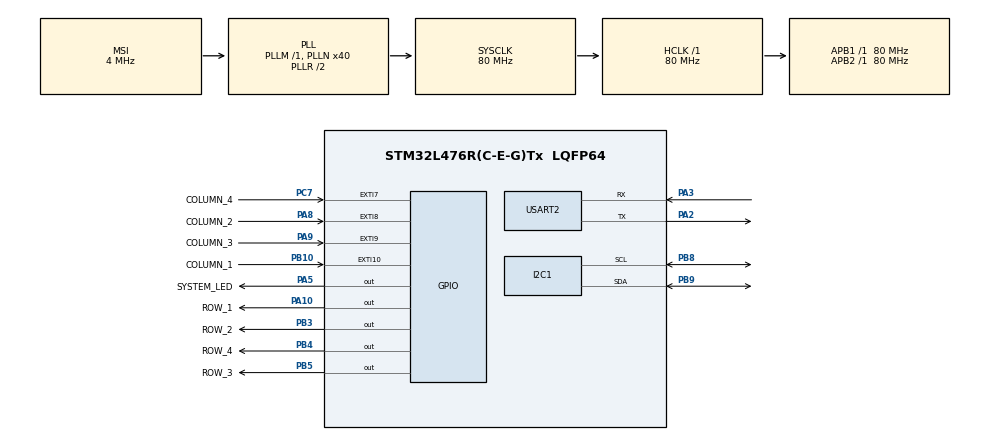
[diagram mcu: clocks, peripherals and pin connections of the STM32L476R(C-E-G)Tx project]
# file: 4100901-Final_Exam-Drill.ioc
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I2C1.Timing=0x10909CEC
Mcu.Family=STM32L4
Mcu.Name=STM32L476R(C-E-G)Tx
Mcu.Package=LQFP64
NVIC.EXTI15_10_IRQn=true\:0\:0\:false\:false\:true\:true\:true\:true
NVIC.EXTI9_5_IRQn=true\:0\:0\:false\:false\:true\:true\:true\:true
NVIC.PriorityGroup=NVIC_PRIORITYGROUP_4
NVIC.USART2_IRQn=true\:0\:0\:false\:false\:true\:true\:true\:true
PA10.GPIO_Label=ROW_1
PA10.PinState=GPIO_PIN_SET
PA10.Signal=GPIO_Output
PA2.Mode=Asynchronous
PA2.Signal=USART2_TX
PA3.Mode=Asynchronous
PA3.Signal=USART2_RX
PA5.GPIO_Label=SYSTEM_LED
PA5.Signal=GPIO_Output
PA8.GPIO_Label=COLUMN_2
PA8.GPIO_ModeDefaultEXTI=GPIO_MODE_IT_RISING
PA8.GPIO_PuPd=GPIO_PULLDOWN
PA8.Signal=GPXTI8
PA9.GPIO_Label=COLUMN_3
PA9.GPIO_ModeDefaultEXTI=GPIO_MODE_IT_RISING
PA9.GPIO_PuPd=GPIO_PULLDOWN
PA9.Signal=GPXTI9
PB10.GPIO_Label=COLUMN_1
PB10.GPIO_ModeDefaultEXTI=GPIO_MODE_IT_RISING
PB10.GPIO_PuPd=GPIO_PULLDOWN
PB10.Signal=GPXTI10
PB3\ (JTDO-TRACESWO).GPIO_Label=ROW_2
PB3\ (JTDO-TRACESWO).PinState=GPIO_PIN_SET
PB3\ (JTDO-TRACESWO).Signal=GPIO_Output
PB4\ (NJTRST).GPIO_Label=ROW_4
PB4\ (NJTRST).PinState=GPIO_PIN_SET
PB4\ (NJTRST).Signal=GPIO_Output
PB5.GPIO_Label=ROW_3
PB5.PinState=GPIO_PIN_SET
PB5.Signal=GPIO_Output
PB8.Mode=I2C
PB8.Signal=I2C1_SCL
PB9.Mode=I2C
PB9.Signal=I2C1_SDA
PC7.GPIO_Label=COLUMN_4
PC7.GPIO_ModeDefaultEXTI=GPIO_MODE_IT_RISING
PC7.GPIO_PuPd=GPIO_PULLDOWN
PC7.Signal=GPXTI7
ProjectManager.HeapSize=0x200
ProjectManager.StackSize=0x400
ProjectManager.TargetToolchain=STM32CubeIDE
RCC.AHBFreq_Value=80000000
RCC.APB1Freq_Value=80000000
RCC.APB1TimFreq_Value=80000000
RCC.APB2Freq_Value=80000000
RCC.APB2TimFreq_Value=80000000
RCC.CortexFreq_Value=80000000
RCC.HCLKFreq_Value=80000000
RCC.HSE_VALUE=8000000
RCC.HSI_VALUE=16000000
RCC.LSE_VALUE=32768
RCC.MSI_VALUE=4000000
RCC.PLLN=40
RCC.SYSCLKFreq_VALUE=80000000
RCC.SYSCLKSource=RCC_SYSCLKSOURCE_PLLCLK
RCC.VCOOutputFreq_Value=160000000
USART2.VirtualMode-Asynchronous=VM_ASYNC
board=custom

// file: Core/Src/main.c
/* USER CODE BEGIN Header */
/**
  ******************************************************************************
  * @file           : main.c
  * @brief          : Main program body
  ******************************************************************************
  * @attention
  *
  * Copyright (c) 2024 STMicroelectronics.
  * All rights reserved.
  *
  * This software is licensed under terms that can be found in the LICENSE file
  * in the root directory of this software component.
  * If no LICENSE file comes with this software, it is provided AS-IS.
  *
  ******************************************************************************
  */
/* USER CODE END Header */
#include "main.h"

/* USER CODE BEGIN Includes */
#include <string.h> // Asegúrate de incluir esta cabecera
#include "keypad.h" // Incluye el encabezado para keypad_scan

#include "flashing_light.h"

#include "ring_buffer.h"
#include"ssd1306.h"
#include"ssd1306_fonts.h"
#include <stdio.h>
/* USER CODE END Includes */

I2C_HandleTypeDef hi2c1;

UART_HandleTypeDef huart2;

/* USER CODE BEGIN PV */
uint8_t data_usart2;
uint8_t newline[] = "\r\n";

#define BUFFER_CAPACITY 10
uint8_t keyboard_buffer_memory[BUFFER_CAPACITY];
ring_buffer_t keyboard_ring_buffer;
uint8_t first_key_pressed = 0;
uint8_t cursor_x_position = 10;  // Control de la posición del cursor horizontal
uint8_t cursor_y_position = 30;  // Línea en la que aparecerán las teclas
uint8_t max_cursor_x_position = 80;

#define MAX_DISPLAY_CHARS 20 // Ajusta este valor según el tamaño de la pantalla y el tamaño del texto

// Buffer para almacenar la secuencia de teclas
static char display_buffer[MAX_DISPLAY_CHARS + 1]; // +1 para el terminador nulo
static uint8_t buffer_index = 0; // Asegúrate de que esta definición sea única

// Variables para la posición actual del cursor en la pantalla
static uint8_t cursor_x = 10;
static uint8_t cursor_y = 30;
uint16_t left_toggles=0;
uint8_t incorrect_password_toggles = 6;  // Parpadeos para contraseña incorrecta
uint32_t incorrect_password_interval = 125;  // 125 ms entre parpadeos
uint16_t left_toggles2=0;
uint8_t warning_toggles = 10;  // Parpadeos para otro caso
uint32_t warning_interval = 500;  // 500 ms entre parpadeos
uint8_t flashing_active = 0;  // Bandera para activar o desactivar el parpadeo
uint8_t flashing_active2=0;
uint8_t flashing_frequency=0;
uint8_t flashing_frequency2=0;

/* USER CODE END PV */

void SystemClock_Config(void);
static void MX_GPIO_Init(void);
static void MX_USART2_UART_Init(void);
static void MX_I2C1_Init(void);
void clear_line(uint8_t y_position);

/* USER CODE BEGIN 0 */
int _write(int file, char *ptr, int len)
{
  // to using printf
  HAL_UART_Transmit(&huart2, (uint8_t *)ptr, len, 10);
  return len;
}

void HAL_GPIO_EXTI_Callback(uint16_t GPIO_Pin)
{
    uint8_t key_pressed = keypad_scan(GPIO_Pin);

    if (key_pressed != 0xFF) {

        // Si se presiona '*', reinicia la secuencia
        if (key_pressed == '*') {
            ring_buffer_reset(&keyboard_ring_buffer);
            memset(display_buffer, 0, sizeof(display_buffer)); // Limpiar el buffer de pantalla
            buffer_index = 0; // Reiniciar el índice del buffer

            ssd1306_Fill(Black);
            ssd1306_SetCursor(10, 20);
            ssd1306_WriteString("Secuencia reiniciada", Font_6x8, White);
            ssd1306_UpdateScreen();
            HAL_UART_Transmit(&huart2, (uint8_t*)"Secuencia reiniciada\n\r", 22, 10);
            return;
        }

        // Escribir la tecla en el ring buffer
        if (key_pressed != '#') {
            ring_buffer_write(&keyboard_ring_buffer, key_pressed);

            // Agregar el carácter al buffer de pantalla
            if (buffer_index < MAX_DISPLAY_CHARS) {
                display_buffer[buffer_index++] = key_pressed;
                display_buffer[buffer_index] = '\0'; // Null-terminar el buffer

                // Limpiar la pantalla y mostrar el contenido del buffer
                ssd1306_Fill(Black);
                ssd1306_SetCursor(10, 30);
                ssd1306_WriteString(display_buffer, Font_6x8, White);
                ssd1306_UpdateScreen();

                // Transmitir el carácter a través de UART en tiempo real
                HAL_UART_Transmit(&huart2, &key_pressed, 1, 10);
            }
            return;
        }

        // Si se presiona '#', verifica la clave ingresada
        uint8_t byte2 = 0;
        uint8_t id_incorrect2 = 0;
        uint8_t my_id2[] = "1053871674";  // Clave correcta

        // Leer del buffer y comparar con la clave correcta
        for (uint8_t idx2 = 0; idx2 < sizeof(my_id2) - 1; idx2++) {
            if (ring_buffer_read(&keyboard_ring_buffer, &byte2) != 0) {
                if (byte2 != my_id2[idx2]) {
                    id_incorrect2 = 1;  // Marcar como incorrecto si no coincide
                    break;
                }
            } else {
                id_incorrect2 = 1;  // Si no hay suficientes caracteres en el buffer
                break;
            }
        }

        HAL_UART_Transmit(&huart2, (uint8_t*)"\n", 1, 10);

        if (!id_incorrect2) {
            // Contraseña correcta
            ssd1306_Fill(Black);
            ssd1306_SetCursor(10, 20);
            ssd1306_WriteString("Contrasena correcta", Font_6x8, White);
            ssd1306_UpdateScreen();
            HAL_UART_Transmit(&huart2, (uint8_t*)"Contrasena Correcta\n\r", 21, 10);
            HAL_UART_Transmit(&huart2, (uint8_t*)"Iniciando...\n\r", 14, 10);
            // Activar parpadeo con frecuencia de 4 Hz y 6 parpadeos
            left_toggles2 = 1;  // 6 parpadeos
            flashing_active2 = 1;  // Activar bandera
            flashing_frequency2 = 0xFF;

        } else {
            // Contraseña incorrecta
            ssd1306_Fill(Black);
            ssd1306_SetCursor(10, 20);
            ssd1306_WriteString("Incorrecta", Font_6x8, White);
            ssd1306_UpdateScreen();
            HAL_UART_Transmit(&huart2, (uint8_t*)"Incorrecto\n\r", 12, 10);

            // Activar parpadeo con frecuencia de 4 Hz y 6 parpadeos
            left_toggles = 6;  // 6 parpadeos
            flashing_active = 1;  // Activar bandera
            flashing_frequency = 125;
        }

        // Reinicia el buffer después de verificar
        ring_buffer_reset(&keyboard_ring_buffer);
        memset(display_buffer, 0, sizeof(display_buffer)); // Limpiar el buffer de pantalla
        buffer_index = 0; // Reiniciar el índice del buffer
        cursor_x = 10;  // Reinicia la posición horizontal del cursor
        cursor_y = 30;  // Reinicia la posición vertical del curso
    }
}

/* USER CODE END 0 */

int main(void)
{

  /* MCU Configuration--------------------------------------------------------*/

  /* Reset of all peripherals, Initializes the Flash interface and the Systick. */
  HAL_Init();

  /* Configure the system clock */
  SystemClock_Config();

  /* Initialize all configured peripherals */
  MX_GPIO_Init();
  MX_USART2_UART_Init();
  MX_I2C1_Init();
  /* USER CODE BEGIN 2 */
  ring_buffer_init(&keyboard_ring_buffer, keyboard_buffer_memory, BUFFER_CAPACITY);
  ssd1306_Init();
  ssd1306_Fill(Black);
  ssd1306_SetCursor(10,20);
  ssd1306_WriteString("iniciando",Font_6x8,White);
  ssd1306_UpdateScreen();

  /* USER CODE END 2 */

  /* Infinite loop */
  /* USER CODE BEGIN WHILE */
  printf("Starting...\r\n");
  while (1)
  {

    /* USER CODE END WHILE */
	  if (flashing_active) {

	      flashing_signal(GPIOA, GPIO_PIN_5, flashing_frequency, &left_toggles);

	      // Desactivar la bandera cuando el parpadeo termina
	      if (left_toggles == 0) {
	          flashing_active = 0;
	      }
	  }
	  if(flashing_active2){
		  flashing_signal(GPIOA, GPIO_PIN_5, flashing_frequency2, &left_toggles2);

	      // Desactivar la bandera cuando el parpadeo termina
	      if (left_toggles2 == 0) {
	          flashing_active2 = 0;
	      }

	  }

  }
}

void clear_line(uint8_t y_position) {
    // Colocar el cursor al inicio de la línea
    ssd1306_SetCursor(10, y_position);
    // Escribir una línea de espacios para "borrar" la línea
    ssd1306_WriteString("                ", Font_6x8, Black);  // Ajusta la cantidad de espacios según el tamaño de la pantalla
    ssd1306_UpdateScreen();
}

void SystemClock_Config(void)
{
  RCC_OscInitTypeDef RCC_OscInitStruct = {0};
  RCC_ClkInitTypeDef RCC_ClkInitStruct = {0};

  /** Configure the main internal regulator output voltage
  */
  if (HAL_PWREx_ControlVoltageScaling(PWR_REGULATOR_VOLTAGE_SCALE1) != HAL_OK)
  {
    Error_Handler();
  }

  /** Initializes the RCC Oscillators according to the specified parameters
  * in the RCC_OscInitTypeDef structure.
  */
  RCC_OscInitStruct.OscillatorType = RCC_OSCILLATORTYPE_MSI;
  RCC_OscInitStruct.MSIState = RCC_MSI_ON;
  RCC_OscInitStruct.MSICalibrationValue = 0;
  RCC_OscInitStruct.MSIClockRange = RCC_MSIRANGE_6;
  RCC_OscInitStruct.PLL.PLLState = RCC_PLL_ON;
  RCC_OscInitStruct.PLL.PLLSource = RCC_PLLSOURCE_MSI;
  RCC_OscInitStruct.PLL.PLLM = 1;
  RCC_OscInitStruct.PLL.PLLN = 40;
  RCC_OscInitStruct.PLL.PLLP = RCC_PLLP_DIV7;
  RCC_OscInitStruct.PLL.PLLQ = RCC_PLLQ_DIV2;
  RCC_OscInitStruct.PLL.PLLR = RCC_PLLR_DIV2;
  if (HAL_RCC_OscConfig(&RCC_OscInitStruct) != HAL_OK)
  {
    Error_Handler();
  }

  /** Initializes the CPU, AHB and APB buses clocks
  */
  RCC_ClkInitStruct.ClockType = RCC_CLOCKTYPE_HCLK|RCC_CLOCKTYPE_SYSCLK
                              |RCC_CLOCKTYPE_PCLK1|RCC_CLOCKTYPE_PCLK2;
  RCC_ClkInitStruct.SYSCLKSource = RCC_SYSCLKSOURCE_PLLCLK;
  RCC_ClkInitStruct.AHBCLKDivider = RCC_SYSCLK_DIV1;
  RCC_ClkInitStruct.APB1CLKDivider = RCC_HCLK_DIV1;
  RCC_ClkInitStruct.APB2CLKDivider = RCC_HCLK_DIV1;

  if (HAL_RCC_ClockConfig(&RCC_ClkInitStruct, FLASH_LATENCY_4) != HAL_OK)
  {
    Error_Handler();
  }
}

static void MX_I2C1_Init(void)
{

  hi2c1.Instance = I2C1;
  hi2c1.Init.Timing = 0x10909CEC;
  hi2c1.Init.OwnAddress1 = 0;
  hi2c1.Init.AddressingMode = I2C_ADDRESSINGMODE_7BIT;
  hi2c1.Init.DualAddressMode = I2C_DUALADDRESS_DISABLE;
  hi2c1.Init.OwnAddress2 = 0;
  hi2c1.Init.OwnAddress2Masks = I2C_OA2_NOMASK;
  hi2c1.Init.GeneralCallMode = I2C_GENERALCALL_DISABLE;
  hi2c1.Init.NoStretchMode = I2C_NOSTRETCH_DISABLE;
  if (HAL_I2C_Init(&hi2c1) != HAL_OK)
  {
    Error_Handler();
  }

  /** Configure Analogue filter
  */
  if (HAL_I2CEx_ConfigAnalogFilter(&hi2c1, I2C_ANALOGFILTER_ENABLE) != HAL_OK)
  {
    Error_Handler();
  }

  /** Configure Digital filter
  */
  if (HAL_I2CEx_ConfigDigitalFilter(&hi2c1, 0) != HAL_OK)
  {
    Error_Handler();
  }

}

static void MX_USART2_UART_Init(void)
{

  huart2.Instance = USART2;
  huart2.Init.BaudRate = 256000;
  huart2.Init.WordLength = UART_WORDLENGTH_8B;
  huart2.Init.StopBits = UART_STOPBITS_1;
  huart2.Init.Parity = UART_PARITY_NONE;
  huart2.Init.Mode = UART_MODE_TX_RX;
  huart2.Init.HwFlowCtl = UART_HWCONTROL_NONE;
  huart2.Init.OverSampling = UART_OVERSAMPLING_16;
  huart2.Init.OneBitSampling = UART_ONE_BIT_SAMPLE_DISABLE;
  huart2.AdvancedInit.AdvFeatureInit = UART_ADVFEATURE_NO_INIT;
  if (HAL_UART_Init(&huart2) != HAL_OK)
  {
    Error_Handler();
  }

}

static void MX_GPIO_Init(void)
{
  GPIO_InitTypeDef GPIO_InitStruct = {0};

  /* GPIO Ports Clock Enable */
  __HAL_RCC_GPIOA_CLK_ENABLE();
  __HAL_RCC_GPIOB_CLK_ENABLE();
  __HAL_RCC_GPIOC_CLK_ENABLE();

  /*Configure GPIO pin Output Level */
  HAL_GPIO_WritePin(SYSTEM_LED_GPIO_Port, SYSTEM_LED_Pin, GPIO_PIN_RESET);

  /*Configure GPIO pin Output Level */
  HAL_GPIO_WritePin(ROW_1_GPIO_Port, ROW_1_Pin, GPIO_PIN_SET);

  /*Configure GPIO pin Output Level */
  HAL_GPIO_WritePin(GPIOB, ROW_2_Pin|ROW_4_Pin|ROW_3_Pin, GPIO_PIN_SET);

  /*Configure GPIO pins : SYSTEM_LED_Pin ROW_1_Pin */
  GPIO_InitStruct.Pin = SYSTEM_LED_Pin|ROW_1_Pin;
  GPIO_InitStruct.Mode = GPIO_MODE_OUTPUT_PP;
  GPIO_InitStruct.Pull = GPIO_NOPULL;
  GPIO_InitStruct.Speed = GPIO_SPEED_FREQ_LOW;
  HAL_GPIO_Init(GPIOA, &GPIO_InitStruct);

  /*Configure GPIO pin : COLUMN_1_Pin */
  GPIO_InitStruct.Pin = COLUMN_1_Pin;
  GPIO_InitStruct.Mode = GPIO_MODE_IT_RISING;
  GPIO_InitStruct.Pull = GPIO_PULLDOWN;
  HAL_GPIO_Init(COLUMN_1_GPIO_Port, &GPIO_InitStruct);

  /*Configure GPIO pin : COLUMN_4_Pin */
  GPIO_InitStruct.Pin = COLUMN_4_Pin;
  GPIO_InitStruct.Mode = GPIO_MODE_IT_RISING;
  GPIO_InitStruct.Pull = GPIO_PULLDOWN;
  HAL_GPIO_Init(COLUMN_4_GPIO_Port, &GPIO_InitStruct);

  /*Configure GPIO pins : COLUMN_2_Pin COLUMN_3_Pin */
  GPIO_InitStruct.Pin = COLUMN_2_Pin|COLUMN_3_Pin;
  GPIO_InitStruct.Mode = GPIO_MODE_IT_RISING;
  GPIO_InitStruct.Pull = GPIO_PULLDOWN;
  HAL_GPIO_Init(GPIOA, &GPIO_InitStruct);

  /*Configure GPIO pins : ROW_2_Pin ROW_4_Pin ROW_3_Pin */
  GPIO_InitStruct.Pin = ROW_2_Pin|ROW_4_Pin|ROW_3_Pin;
  GPIO_InitStruct.Mode = GPIO_MODE_OUTPUT_PP;
  GPIO_InitStruct.Pull = GPIO_NOPULL;
  GPIO_InitStruct.Speed = GPIO_SPEED_FREQ_LOW;
  HAL_GPIO_Init(GPIOB, &GPIO_InitStruct);

  /* EXTI interrupt init*/
  HAL_NVIC_SetPriority(EXTI9_5_IRQn, 0, 0);
  HAL_NVIC_EnableIRQ(EXTI9_5_IRQn);

  HAL_NVIC_SetPriority(EXTI15_10_IRQn, 0, 0);
  HAL_NVIC_EnableIRQ(EXTI15_10_IRQn);

}

void Error_Handler(void)
{
  __disable_irq();
  while (1)
  {
  }
}
